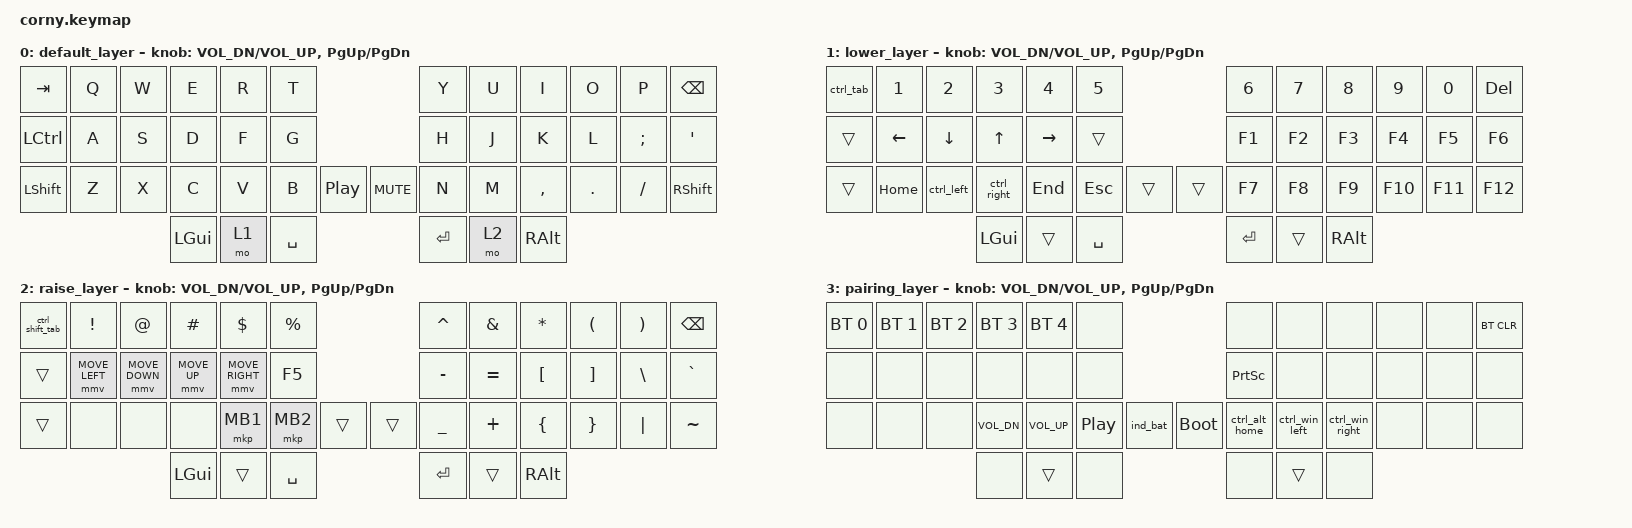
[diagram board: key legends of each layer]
#include <behaviors.dtsi>
#include <dt-bindings/zmk/keys.h>
#include <dt-bindings/zmk/bt.h>
#include <behaviors/rgbled_widget.dtsi>
#include <dt-bindings/zmk/ext_power.h>
#include <dt-bindings/zmk/pointing.h>

#define ZMK_POINTING_DEFAULT_MOVE_VAL 1200  // default: 600
#define ZMK_POINTING_DEFAULT_SCRL_VAL 20


/ {
    macros {
      ctrl_alt_home: ctrl_alt_home {
        compatible = "zmk,behavior-macro";
        #binding-cells = <0>;
        bindings = <&macro_press &kp LCTRL &kp LALT>,
                   <&macro_tap &kp HOME>,
                   <&macro_release &kp LCTRL &kp LALT>;
      };
      ctrl_win_left: ctrl_win_left {
        compatible = "zmk,behavior-macro";
        #binding-cells = <0>;
        bindings = <&macro_press &kp LCTRL &kp LGUI>,
                   <&macro_tap &kp LEFT>,
                   <&macro_release &kp LCTRL &kp LGUI>;
      };
      ctrl_win_right: ctrl_win_right {
        compatible = "zmk,behavior-macro";
        #binding-cells = <0>;
        bindings = <&macro_press &kp LCTRL &kp LGUI>,
                   <&macro_tap &kp RIGHT>,
                   <&macro_release &kp LCTRL &kp LGUI>;
      };
      ctrl_shift_esc: ctrl_shift_esc {
        compatible = "zmk,behavior-macro";
        #binding-cells = <0>;
        bindings = <&macro_press &kp LCTRL &kp LSHIFT>,
                   <&macro_tap &kp ESC>,
                   <&macro_release &kp LCTRL &kp LSHIFT>;
      };
      alt_f4: alt_f4 {
        compatible = "zmk,behavior-macro";
        #binding-cells = <0>;
        bindings = <&macro_press &kp LALT>,
                   <&macro_tap &kp F4>,
                   <&macro_release &kp LALT>;
      };
      ctrl_shift_r: ctrl_shift_r {
        compatible = "zmk,behavior-macro";
        #binding-cells = <0>;
        bindings = <&macro_press &kp LCTRL &kp LSHIFT>,
                   <&macro_tap &kp R>,
                   <&macro_release &kp LCTRL &kp LSHIFT>;
      };
      win_l: win_l {
        compatible = "zmk,behavior-macro";
        #binding-cells = <0>;
        bindings = <&macro_press &kp LGUI>,
                   <&macro_tap &kp L>,
                   <&macro_release &kp LGUI>;
      };
      ctrl_left: ctrl_left {
        compatible = "zmk,behavior-macro";
        #binding-cells = <0>;
        bindings = <&macro_press &kp LCTRL>,
                   <&macro_tap &kp LEFT>,
                   <&macro_release &kp LCTRL>;
      };
      ctrl_right: ctrl_right {
        compatible = "zmk,behavior-macro";
        #binding-cells = <0>;
        bindings = <&macro_press &kp LCTRL>,
                   <&macro_tap &kp RIGHT>,
                   <&macro_release &kp LCTRL>;
      };
      ctrl_tab: ctrl_tab {
        compatible = "zmk,behavior-macro";
        #binding-cells = <0>;
        bindings = <&macro_press &kp LCTRL>,
                   <&macro_tap &kp TAB>,
                   <&macro_release &kp LCTRL>;
      };
      ctrl_shift_tab: ctrl_shift_tab {
        compatible = "zmk,behavior-macro";
        #binding-cells = <0>;
        bindings = <&macro_press &kp LCTRL &kp LSHIFT>,
                   <&macro_tap &kp TAB>,
                   <&macro_release &kp LCTRL &kp LSHIFT>;
      };
  };
};

/ {
  conditional_layers {
    compatible = "zmk,conditional-layers";
    tri_layer {
      if-layers = <1 2>;
      then-layer = <3>;
    };
  };
};

/ {
        keymap {
                compatible = "zmk,keymap";
                default_layer {
                        bindings = <
&kp TAB         &kp Q           &kp W           &kp E           &kp R           &kp T                                           &kp Y           &kp U           &kp I           &kp O           &kp P           &kp BSPC
&kp LCTRL       &kp A           &kp S           &kp D           &kp F           &kp G                                           &kp H           &kp J           &kp K           &kp L           &kp SEMI        &kp SQT
&kp LSHFT       &kp Z           &kp X           &kp C           &kp V           &kp B           &kp C_PP        &kp C_MUTE      &kp N           &kp M           &kp COMMA       &kp DOT         &kp FSLH        &kp RSHFT
                                                &kp LGUI        &mo 1           &kp SPACE                                       &kp RET         &mo 2           &kp RALT
                        >;
                        sensor-bindings = <&inc_dec_kp C_VOL_DN C_VOL_UP &inc_dec_kp PG_UP PG_DN>;
                };
                lower_layer {
                        bindings = <
&ctrl_tab       &kp N1          &kp N2          &kp N3          &kp N4          &kp N5                                          &kp N6          &kp N7          &kp N8          &kp N9          &kp N0          &kp DEL
&trans          &kp LEFT        &kp DOWN        &kp UP          &kp RIGHT       &trans                                          &kp F1          &kp F2          &kp F3          &kp F4          &kp F5          &kp F6
&trans          &kp HOME        &ctrl_left      &ctrl_right     &kp END         &kp ESC         &trans          &trans          &kp F7          &kp F8          &kp F9          &kp F10         &kp F11         &kp F12
                                                &kp LGUI        &trans          &kp SPACE                                       &kp RET         &trans          &kp RALT
                        >;
                        sensor-bindings = <&inc_dec_kp C_VOL_DN C_VOL_UP &inc_dec_kp PG_UP PG_DN>;
                };
                raise_layer {
                        bindings = <
&ctrl_shift_tab &kp EXCL        &kp AT          &kp HASH        &kp DLLR        &kp PRCNT                                       &kp CARET       &kp AMPS        &kp ASTRK       &kp LPAR        &kp RPAR       &kp BSPC
&trans          &mmv MOVE_LEFT  &mmv MOVE_DOWN  &mmv MOVE_UP    &mmv MOVE_RIGHT &kp F5                                          &kp MINUS       &kp EQUAL       &kp LBKT        &kp RBKT        &kp BSLH       &kp GRAVE
&trans          &none           &none           &none           &mkp MB1        &mkp MB2        &trans          &trans          &kp UNDER       &kp PLUS        &kp LBRC        &kp RBRC        &kp PIPE       &kp TILDE
                                                &kp LGUI        &trans          &kp SPACE                                       &kp RET         &trans          &kp RALT
                        >;
                        sensor-bindings = <&inc_dec_kp C_VOL_DN C_VOL_UP &inc_dec_kp PG_UP PG_DN>;
                };
                pairing_layer {
                        bindings = <
&bt BT_SEL 0    &bt BT_SEL 1    &bt BT_SEL 2    &bt BT_SEL 3    &bt BT_SEL 4    &none                                           &none           &none           &none           &none           &none           &bt BT_CLR 
&none           &none           &none           &none           &none           &none                                           &kp PSCRN       &none           &none           &none           &none           &none
&none           &none           &none           &kp C_VOL_DN    &kp C_VOL_UP    &kp C_PP        &ind_bat        &bootloader     &ctrl_alt_home  &ctrl_win_left  &ctrl_win_right &none           &none           &none
                                                &none           &trans          &none                                           &none           &trans          &none
                        >;
                        sensor-bindings = <&inc_dec_kp C_VOL_DN C_VOL_UP &inc_dec_kp PG_UP PG_DN>;
                };
        };
};
